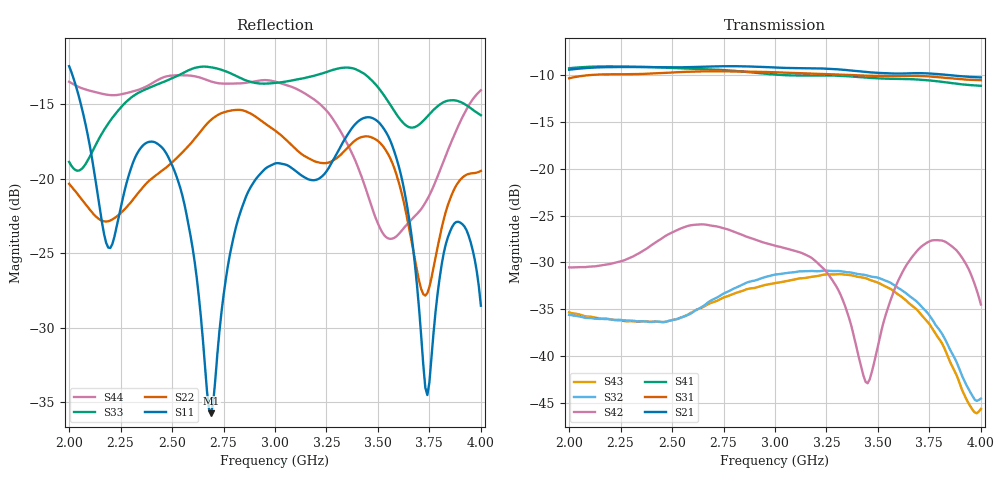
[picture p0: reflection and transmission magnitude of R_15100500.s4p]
!Agilent Technologies,N5224A,MY51441093,A.09.90.21
!Agilent N5224A: A.09.90.21
!Date: Friday, December 19, 2025 16:48:56
!Correction: S11(Full 4 Port(1,2,3,4))
!S12(Full 4 Port(1,2,3,4))
!S13(Full 4 Port(1,2,3,4))
!S14(Full 4 Port(1,2,3,4))
!S21(Full 4 Port(1,2,3,4))
!S22(Full 4 Port(1,2,3,4))
!S23(Full 4 Port(1,2,3,4))
!S24(Full 4 Port(1,2,3,4))
!S31(Full 4 Port(1,2,3,4))
!S32(Full 4 Port(1,2,3,4))
!S33(Full 4 Port(1,2,3,4))
!S34(Full 4 Port(1,2,3,4))
!S41(Full 4 Port(1,2,3,4))
!S42(Full 4 Port(1,2,3,4))
!S43(Full 4 Port(1,2,3,4))
!S44(Full 4 Port(1,2,3,4))
!S4P File: Measurements: <S11,S12,S13,S14>,
!<S21,S22,S23,S24>,
!<S31,S32,S33,S34>,
!<S41,S42,S43,S44>:
# Hz S  dB  R 50
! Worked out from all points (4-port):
!   201 points, 2 GHz to 4 GHz, reference 50 ohm
!   strongest paths, dB at 2 GHz, 2.5 GHz, 3 GHz, 3.5 GHz, 4 GHz:
!     S21: -9.4, -9.2, -9.2, -9.7, -10.2
!     S31: -10.3, -9.7, -9.7, -10.1, -10.5
!     S41: -9.2, -9.2, -9.9, -10.3, -11.1
!     S42: -30.5, -26.8, -28.2, -38.9, -34.5
!     S32: -35.6, -36.2, -31.3, -31.6, -44.6
!     S43: -35.3, -36.2, -32.2, -32.2, -45.7
!   lowest |S11| = -35.7 dB at 2.69 GHz (marker M1), VSWR 1.03, Z = 50.7 - j1.47 ohm
!   |S11| at or under -10 dB: start of sweep to end of sweep
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2e9  -12.46 -56.9  -9.38 -73.9  -10.27 75.2  -9.36 169.3
     -9.41 -73.9  -20.35 109.2  -35.57 -167.0  -30.67 -89.0
     -10.32 75.4  -35.61 -166.7  -18.88 67.2  -35.51 76.5
     -9.25 169.5  -30.53 -88.7  -35.34 76.6  -13.50 -49.8
2.34e9  -18.10 -48.2  -9.10 109.8  -9.81 -112.5  -9.23 -2.1
        -9.12 109.7  -20.89 -78.7  -36.25 -163.6  -29.16 39.9
        -9.87 -112.5  -36.30 -163.4  -14.22 -111.1  -36.53 85.0
        -9.10 -2.0  -29.02 40.1  -36.33 85.0  -14.03 -127.6
2.69e9  -35.75 -62.9  -9.03 -65.9  -9.51 66.7  -9.49 -177.0
        -9.06 -66.0  -16.05 -171.9  -34.03 -113.3  -26.22 172.8
        -9.58 66.8  -34.06 -113.1  -12.53 170.5  -34.49 135.0
        -9.38 -177.0  -26.07 172.9  -34.31 135.1  -13.49 151.5
3.1e9  -19.48 -73.4  -9.19 89.5  -9.68 -138.2  -10.10 -20.3
       -9.24 89.4  -18.02 107.6  -31.00 -114.2  -28.92 -44.5
       -9.76 -138.0  -31.03 -113.8  -13.36 112.2  -31.97 135.0
       -10.03 -20.1  -28.81 -44.2  -31.81 135.0  -13.95 61.6
3.43e9  -15.94 -101.0  -9.59 -74.0  -9.95 61.3  -10.29 174.9
        -9.63 -73.9  -17.18 80.3  -31.26 -41.1  -42.24 175.3
        -10.03 61.6  -31.31 -40.8  -12.94 60.1  -31.78 -151.0
        -10.23 175.1  -42.14 175.5  -31.64 -151.1  -20.23 -58.3
3.74e9  -34.52 -124.9  -9.76 135.2  -10.03 -88.7  -10.57 18.9
        -9.80 135.3  -27.68 72.9  -35.34 39.2  -27.93 80.0
        -10.11 -88.3  -35.39 39.4  -15.83 41.9  -36.47 -72.3
        -10.53 19.4  -27.86 80.4  -36.33 -72.3  -21.38 129.4
4e9  -28.53 -155.1  -10.18 7.9  -10.44 146.0  -11.16 -111.6
     -10.23 8.1  -19.48 75.0  -44.51 95.3  -34.56 -79.2
     -10.53 146.6  -44.56 95.7  -15.75 11.7  -45.74 -31.9
     -11.13 -110.9  -34.50 -78.9  -45.67 -31.8  -14.07 70.3
